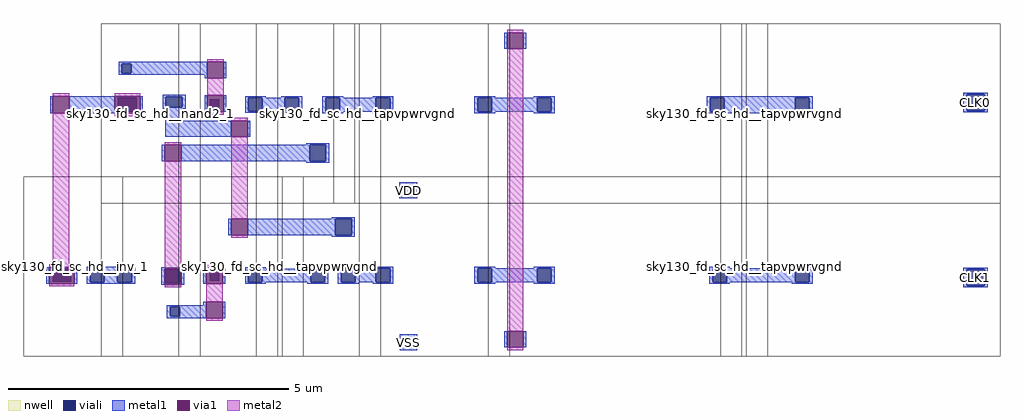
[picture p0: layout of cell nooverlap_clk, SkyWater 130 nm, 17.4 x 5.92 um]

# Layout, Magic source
magic
tech sky130A
magscale 1 2
<< nwell >>
rect 924 -656 988 -598
<< viali >>
rect -65 -209 -31 -175
rect -79 -347 -12 -297
rect 92 -331 150 -293
rect 248 -337 282 -303
rect 386 -345 436 -297
rect 516 -345 566 -297
rect 662 -347 712 -297
rect 841 -347 891 -297
rect 1204 -347 1254 -297
rect 1416 -347 1466 -297
rect 2033 -347 2083 -297
rect 2336 -347 2386 -297
rect 2947 -343 3011 -285
rect 604 -523 662 -465
rect 696 -787 754 -729
rect -312 -954 -246 -907
rect -178 -955 -127 -905
rect -81 -955 -30 -905
rect 88 -958 146 -908
rect 248 -949 282 -915
rect 386 -955 436 -907
rect 608 -955 658 -907
rect 717 -955 767 -905
rect 841 -955 891 -905
rect 1204 -955 1254 -905
rect 1416 -955 1466 -905
rect 2041 -955 2091 -905
rect 2336 -955 2386 -905
rect 2947 -967 3011 -909
rect 107 -1077 141 -1043
<< metal1 >>
rect 1299 -123 1309 -65
rect 1367 -123 1377 -65
rect -77 -175 240 -169
rect -77 -209 -65 -175
rect -31 -209 240 -175
rect -77 -215 240 -209
rect 230 -227 240 -215
rect 298 -227 308 -169
rect 2935 -285 3023 -279
rect -321 -353 -311 -291
rect -252 -353 -91 -291
rect 0 -353 10 -291
rect 80 -293 162 -287
rect 80 -331 92 -293
rect 150 -331 162 -293
rect 80 -337 162 -331
rect 92 -379 150 -337
rect 230 -347 240 -289
rect 298 -347 308 -289
rect 374 -297 448 -291
rect 504 -297 578 -291
rect 374 -345 386 -297
rect 436 -345 516 -297
rect 566 -345 578 -297
rect 374 -351 448 -345
rect 504 -351 578 -345
rect 650 -297 724 -291
rect 829 -297 903 -291
rect 650 -347 662 -297
rect 712 -347 841 -297
rect 891 -347 903 -297
rect 650 -353 724 -347
rect 829 -353 903 -347
rect 1192 -297 1266 -291
rect 1404 -297 1478 -291
rect 1192 -347 1204 -297
rect 1254 -347 1416 -297
rect 1466 -347 1478 -297
rect 1192 -353 1266 -347
rect 1404 -353 1478 -347
rect 2021 -297 2398 -291
rect 2021 -347 2033 -297
rect 2083 -347 2336 -297
rect 2386 -347 2398 -297
rect 2021 -353 2398 -347
rect 2935 -343 2947 -285
rect 3011 -343 3023 -285
rect 2935 -349 3023 -343
rect 90 -437 325 -379
rect 383 -437 393 -379
rect 592 -465 674 -459
rect 78 -523 88 -465
rect 146 -523 604 -465
rect 662 -523 674 -465
rect 592 -529 674 -523
rect 924 -656 988 -598
rect 684 -729 766 -723
rect 315 -787 325 -729
rect 383 -787 696 -729
rect 754 -787 766 -729
rect 684 -793 766 -787
rect -334 -960 -324 -901
rect -234 -960 -224 -901
rect -190 -905 -18 -899
rect -190 -955 -178 -905
rect -127 -955 -81 -905
rect -30 -955 -18 -905
rect -190 -961 -18 -955
rect 76 -905 158 -902
rect 76 -963 88 -905
rect 146 -963 158 -905
rect 226 -961 236 -903
rect 294 -961 304 -903
rect 374 -907 448 -901
rect 596 -907 670 -901
rect 374 -955 386 -907
rect 436 -955 608 -907
rect 658 -955 670 -907
rect 374 -961 448 -955
rect 596 -961 670 -955
rect 705 -905 779 -899
rect 829 -905 903 -899
rect 705 -955 717 -905
rect 767 -955 841 -905
rect 891 -955 903 -905
rect 705 -961 779 -955
rect 829 -961 903 -955
rect 1192 -905 1266 -899
rect 1404 -905 1478 -899
rect 1192 -955 1204 -905
rect 1254 -955 1416 -905
rect 1466 -955 1478 -905
rect 1192 -961 1266 -955
rect 1404 -961 1478 -955
rect 2029 -905 2103 -899
rect 2324 -905 2398 -899
rect 2029 -955 2041 -905
rect 2091 -955 2336 -905
rect 2386 -955 2398 -905
rect 2029 -961 2103 -955
rect 2324 -961 2398 -955
rect 2935 -909 3023 -903
rect 76 -964 158 -963
rect 2935 -967 2947 -909
rect 3011 -967 3023 -909
rect 2935 -973 3023 -967
rect 226 -1037 236 -1025
rect 95 -1043 236 -1037
rect 95 -1077 107 -1043
rect 141 -1077 236 -1043
rect 95 -1083 236 -1077
rect 294 -1083 304 -1025
rect 925 -1198 989 -1140
rect 1299 -1187 1309 -1129
rect 1367 -1187 1377 -1129
<< via1 >>
rect 1309 -123 1367 -65
rect 240 -227 298 -169
rect -311 -353 -252 -291
rect -91 -297 0 -291
rect -91 -347 -79 -297
rect -79 -347 -12 -297
rect -12 -347 0 -297
rect -91 -353 0 -347
rect 240 -303 298 -289
rect 240 -337 248 -303
rect 248 -337 282 -303
rect 282 -337 298 -303
rect 240 -347 298 -337
rect 325 -437 383 -379
rect 88 -523 146 -465
rect 325 -787 383 -729
rect -324 -907 -234 -901
rect -324 -954 -312 -907
rect -312 -954 -246 -907
rect -246 -954 -234 -907
rect -324 -960 -234 -954
rect 88 -908 146 -905
rect 88 -958 146 -908
rect 88 -963 146 -958
rect 236 -915 294 -903
rect 236 -949 248 -915
rect 248 -949 282 -915
rect 282 -949 294 -915
rect 236 -961 294 -949
rect 236 -1083 294 -1025
rect 1309 -1187 1367 -1129
<< metal2 >>
rect 1309 -65 1367 -55
rect 240 -169 298 -159
rect -311 -291 -252 -281
rect -311 -891 -252 -353
rect -91 -291 0 -281
rect -91 -363 0 -353
rect 240 -289 298 -227
rect 240 -357 298 -347
rect 325 -379 383 -369
rect 88 -465 146 -455
rect -324 -901 -234 -891
rect -324 -970 -234 -960
rect 88 -905 146 -523
rect 325 -729 383 -437
rect 325 -797 383 -787
rect 88 -973 146 -963
rect 236 -903 294 -893
rect 236 -1025 294 -961
rect 236 -1093 294 -1083
rect 1309 -1129 1367 -123
rect 1309 -1197 1367 -1187
use sky130_fd_sc_hd__tapvpwrvgnd_1  sky130_fd_sc_hd__tapvpwrvgnd_1_0 $PDKPATH/libs.ref/sky130_fd_sc_hd/mag
transform -1 0 820 0 -1 -82
box -38 -48 130 592
use sky130_fd_sc_hd__tapvpwrvgnd_1  sky130_fd_sc_hd__tapvpwrvgnd_1_1
transform -1 0 2200 0 -1 -82
box -38 -48 130 592
use sky130_fd_sc_hd__tapvpwrvgnd_1  sky130_fd_sc_hd__tapvpwrvgnd_1_2
transform 1 0 2108 0 1 -1170
box -38 -48 130 592
use sky130_fd_sc_hd__tapvpwrvgnd_1  sky130_fd_sc_hd__tapvpwrvgnd_1_3
transform 1 0 452 0 1 -1170
box -38 -48 130 592
use sky130_fd_sc_hd__nand2_1  x1 $PDKPATH/libs.ref/sky130_fd_sc_hd/mag
transform -1 0 176 0 -1 -82
box -38 -48 314 592
use sky130_fd_sc_hd__nand2_1  x2
transform 1 0 -100 0 1 -1170
box -38 -48 314 592
use sky130_fd_sc_hd__inv_1  x3 $PDKPATH/libs.ref/sky130_fd_sc_hd/mag
transform 1 0 -376 0 1 -1170
box -38 -48 314 592
use sky130_fd_sc_hd__inv_1  x4
transform 1 0 176 0 -1 -82
box -38 -48 314 592
use sky130_fd_sc_hd__inv_1  x5
transform 1 0 176 0 1 -1170
box -38 -48 314 592
use sky130_fd_sc_hd__inv_1  x6
transform 1 0 452 0 -1 -82
box -38 -48 314 592
use sky130_fd_sc_hd__inv_1  x7
transform 1 0 544 0 1 -1170
box -38 -48 314 592
use sky130_fd_sc_hd__inv_4  x8 $PDKPATH/libs.ref/sky130_fd_sc_hd/mag
transform 1 0 820 0 -1 -82
box -38 -48 498 592
use sky130_fd_sc_hd__inv_4  x9
transform 1 0 820 0 1 -1170
box -38 -48 498 592
use sky130_fd_sc_hd__inv_8  x10 $PDKPATH/libs.ref/sky130_fd_sc_hd/mag
transform 1 0 1280 0 -1 -82
box -38 -48 866 592
use sky130_fd_sc_hd__inv_8  x11
transform 1 0 1280 0 1 -1170
box -38 -48 866 592
use sky130_fd_sc_hd__inv_8  x12
transform 1 0 2200 0 -1 -82
box -38 -48 866 592
use sky130_fd_sc_hd__inv_8  x13
transform 1 0 2200 0 1 -1170
box -38 -48 866 592
<< labels >>
flabel via1 -311 -353 -252 -291 0 FreeSans 800 0 0 0 IN
port 0 nsew
flabel viali 2033 -347 2083 -297 0 FreeSans 800 0 0 0 CLKB0
port 3 nsew
flabel viali 2041 -955 2091 -905 0 FreeSans 800 0 0 0 CLKB1
port 4 nsew
flabel metal1 941 -643 975 -609 0 FreeSans 800 0 0 0 VDD
port 5 nsew
flabel metal1 941 -1187 975 -1153 0 FreeSans 800 0 0 0 VSS
port 7 nsew
flabel viali 2947 -343 3011 -285 0 FreeSans 800 0 0 0 CLK0
port 8 nsew
flabel viali 2947 -967 3011 -909 0 FreeSans 800 0 0 0 CLK1
port 10 nsew
<< end >>
